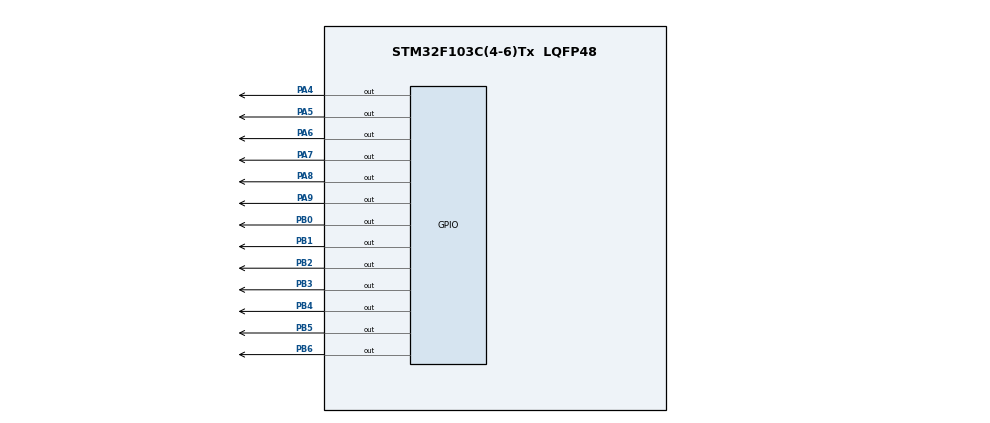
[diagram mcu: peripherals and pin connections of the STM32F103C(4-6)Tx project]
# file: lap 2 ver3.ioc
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Mcu.Family=STM32F1
Mcu.Name=STM32F103C(4-6)Tx
Mcu.Package=LQFP48
NVIC.PriorityGroup=NVIC_PRIORITYGROUP_4
NVIC.TIM2_IRQn=true\:0\:0\:false\:false\:true\:true\:true
PA4.Signal=GPIO_Output
PA5.Signal=GPIO_Output
PA6.Signal=GPIO_Output
PA7.Signal=GPIO_Output
PA8.Signal=GPIO_Output
PA9.Signal=GPIO_Output
PB0.Signal=GPIO_Output
PB1.Signal=GPIO_Output
PB2.Signal=GPIO_Output
PB3.Signal=GPIO_Output
PB4.Signal=GPIO_Output
PB5.Signal=GPIO_Output
PB6.Signal=GPIO_Output
ProjectManager.HeapSize=0x200
ProjectManager.StackSize=0x400
ProjectManager.TargetToolchain=STM32CubeIDE
RCC.APB1Freq_Value=8000000
RCC.APB2Freq_Value=8000000
TIM2.Period=0
TIM2.Prescaler=7999
VP_SYS_VS_ND.Mode=No_Debug
VP_TIM2_VS_ClockSourceINT.Mode=Internal
board=custom

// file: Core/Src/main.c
/* USER CODE BEGIN Header */
/**
  ******************************************************************************
  * @file           : main.c
  * @brief          : Main program body
  ******************************************************************************
  * @attention
  *
  * <h2><center>&copy; Copyright (c) 2021 STMicroelectronics.
  * All rights reserved.</center></h2>
  *
  * This software component is licensed by ST under BSD 3-Clause license,
  * the "License"; You may not use this file except in compliance with the
  * License. You may obtain a copy of the License at:
  *                        opensource.org/licenses/BSD-3-Clause
  *
  ******************************************************************************
  */
/* USER CODE END Header */
#include "main.h"

TIM_HandleTypeDef htim2;

void SystemClock_Config(void);
static void MX_GPIO_Init(void);
static void MX_TIM2_Init(void);

/* USER CODE BEGIN 0 */
void display7SEG(int num){
	switch(num){
	case(0):
			HAL_GPIO_WritePin(GPIOB, GPIO_PIN_0, RESET);
			HAL_GPIO_WritePin(GPIOB, GPIO_PIN_1, RESET);
			HAL_GPIO_WritePin(GPIOB, GPIO_PIN_2, RESET);
			HAL_GPIO_WritePin(GPIOB, GPIO_PIN_3, RESET);
			HAL_GPIO_WritePin(GPIOB, GPIO_PIN_4, RESET);
			HAL_GPIO_WritePin(GPIOB, GPIO_PIN_5, RESET);
			HAL_GPIO_WritePin(GPIOB, GPIO_PIN_6, SET);
			break;
	case(1):
			HAL_GPIO_WritePin(GPIOB, GPIO_PIN_0, SET);
			HAL_GPIO_WritePin(GPIOB, GPIO_PIN_1, RESET);
			HAL_GPIO_WritePin(GPIOB, GPIO_PIN_2, RESET);
			HAL_GPIO_WritePin(GPIOB, GPIO_PIN_3, SET);
			HAL_GPIO_WritePin(GPIOB, GPIO_PIN_4, SET);
			HAL_GPIO_WritePin(GPIOB, GPIO_PIN_5, SET);
			HAL_GPIO_WritePin(GPIOB, GPIO_PIN_6, SET);
			break;
	case(2):
			HAL_GPIO_WritePin(GPIOB, GPIO_PIN_0, RESET);
			HAL_GPIO_WritePin(GPIOB, GPIO_PIN_1, RESET);
			HAL_GPIO_WritePin(GPIOB, GPIO_PIN_2, SET);
			HAL_GPIO_WritePin(GPIOB, GPIO_PIN_3, RESET);
			HAL_GPIO_WritePin(GPIOB, GPIO_PIN_4, RESET);
			HAL_GPIO_WritePin(GPIOB, GPIO_PIN_5, SET);
			HAL_GPIO_WritePin(GPIOB, GPIO_PIN_6, RESET);
			break;
	case(3):
			HAL_GPIO_WritePin(GPIOB, GPIO_PIN_0, RESET);
			HAL_GPIO_WritePin(GPIOB, GPIO_PIN_1, RESET);
			HAL_GPIO_WritePin(GPIOB, GPIO_PIN_2, RESET);
			HAL_GPIO_WritePin(GPIOB, GPIO_PIN_3, RESET);
			HAL_GPIO_WritePin(GPIOB, GPIO_PIN_4, SET);
			HAL_GPIO_WritePin(GPIOB, GPIO_PIN_5, SET);
			HAL_GPIO_WritePin(GPIOB, GPIO_PIN_6, RESET);
			break;
	case(4):
			HAL_GPIO_WritePin(GPIOB, GPIO_PIN_0, SET);
			HAL_GPIO_WritePin(GPIOB, GPIO_PIN_1, RESET);
			HAL_GPIO_WritePin(GPIOB, GPIO_PIN_2, RESET);
			HAL_GPIO_WritePin(GPIOB, GPIO_PIN_3, SET);
			HAL_GPIO_WritePin(GPIOB, GPIO_PIN_4, SET);
			HAL_GPIO_WritePin(GPIOB, GPIO_PIN_5, RESET);
			HAL_GPIO_WritePin(GPIOB, GPIO_PIN_6, RESET);
			break;
	case(5):
			HAL_GPIO_WritePin(GPIOB, GPIO_PIN_0, RESET);
			HAL_GPIO_WritePin(GPIOB, GPIO_PIN_1, SET);
			HAL_GPIO_WritePin(GPIOB, GPIO_PIN_2, RESET);
			HAL_GPIO_WritePin(GPIOB, GPIO_PIN_3, RESET);
			HAL_GPIO_WritePin(GPIOB, GPIO_PIN_4, SET);
			HAL_GPIO_WritePin(GPIOB, GPIO_PIN_5, RESET);
			HAL_GPIO_WritePin(GPIOB, GPIO_PIN_6, RESET);
			break;
	case(6):
			HAL_GPIO_WritePin(GPIOB, GPIO_PIN_0, RESET);
			HAL_GPIO_WritePin(GPIOB, GPIO_PIN_1, SET);
			HAL_GPIO_WritePin(GPIOB, GPIO_PIN_2, RESET);
			HAL_GPIO_WritePin(GPIOB, GPIO_PIN_3, RESET);
			HAL_GPIO_WritePin(GPIOB, GPIO_PIN_4, RESET);
			HAL_GPIO_WritePin(GPIOB, GPIO_PIN_5, RESET);
			HAL_GPIO_WritePin(GPIOB, GPIO_PIN_6, RESET);
			break;
	case(7):
			HAL_GPIO_WritePin(GPIOB, GPIO_PIN_0, RESET);
			HAL_GPIO_WritePin(GPIOB, GPIO_PIN_1, RESET);
			HAL_GPIO_WritePin(GPIOB, GPIO_PIN_2, RESET);
			HAL_GPIO_WritePin(GPIOB, GPIO_PIN_3, SET);
			HAL_GPIO_WritePin(GPIOB, GPIO_PIN_4, SET);
			HAL_GPIO_WritePin(GPIOB, GPIO_PIN_5, SET);
			HAL_GPIO_WritePin(GPIOB, GPIO_PIN_6, SET);
			break;
	case(8):
			HAL_GPIO_WritePin(GPIOB, GPIO_PIN_0, RESET);
			HAL_GPIO_WritePin(GPIOB, GPIO_PIN_1, RESET);
			HAL_GPIO_WritePin(GPIOB, GPIO_PIN_2, RESET);
			HAL_GPIO_WritePin(GPIOB, GPIO_PIN_3, RESET);
			HAL_GPIO_WritePin(GPIOB, GPIO_PIN_4, RESET);
			HAL_GPIO_WritePin(GPIOB, GPIO_PIN_5, RESET);
			HAL_GPIO_WritePin(GPIOB, GPIO_PIN_6, RESET);
			break;
	case(9):
			HAL_GPIO_WritePin(GPIOB, GPIO_PIN_0, RESET);
			HAL_GPIO_WritePin(GPIOB, GPIO_PIN_1, RESET);
			HAL_GPIO_WritePin(GPIOB, GPIO_PIN_2, RESET);
			HAL_GPIO_WritePin(GPIOB, GPIO_PIN_3, RESET);
			HAL_GPIO_WritePin(GPIOB, GPIO_PIN_4, SET);
			HAL_GPIO_WritePin(GPIOB, GPIO_PIN_5, RESET);
			HAL_GPIO_WritePin(GPIOB, GPIO_PIN_6, RESET);
			break;
	default:
			HAL_GPIO_WritePin(GPIOB, GPIO_PIN_0, SET);
			HAL_GPIO_WritePin(GPIOB, GPIO_PIN_1, SET);
			HAL_GPIO_WritePin(GPIOB, GPIO_PIN_2, SET);
			HAL_GPIO_WritePin(GPIOB, GPIO_PIN_3, SET);
			HAL_GPIO_WritePin(GPIOB, GPIO_PIN_4, SET);
			HAL_GPIO_WritePin(GPIOB, GPIO_PIN_5, SET);
			HAL_GPIO_WritePin(GPIOB, GPIO_PIN_6, SET);
			break;
	}
}
int led_buffer[4] = {1,2,3,0};
void update7SEG(int index){
	int value = led_buffer[index];
	display7SEG(10);	// blank

	switch(index){
	case(0):	// first 7SEG on
			HAL_GPIO_WritePin(GPIOA, GPIO_PIN_6, RESET);
			HAL_GPIO_WritePin(GPIOA, GPIO_PIN_7, SET);
			HAL_GPIO_WritePin(GPIOA, GPIO_PIN_8, SET);
			HAL_GPIO_WritePin(GPIOA, GPIO_PIN_9, SET);
			break;
	case(1):	// second 7SEG on
			HAL_GPIO_WritePin(GPIOA, GPIO_PIN_6, SET);
			HAL_GPIO_WritePin(GPIOA, GPIO_PIN_7, RESET);
			HAL_GPIO_WritePin(GPIOA, GPIO_PIN_8, SET);
			HAL_GPIO_WritePin(GPIOA, GPIO_PIN_9, SET);
			break;
	case(2):	// third 7SEG on
			HAL_GPIO_WritePin(GPIOA, GPIO_PIN_6, SET);
			HAL_GPIO_WritePin(GPIOA, GPIO_PIN_7, SET);
			HAL_GPIO_WritePin(GPIOA, GPIO_PIN_8, RESET);
			HAL_GPIO_WritePin(GPIOA, GPIO_PIN_9, SET);
			break;
	case(3):	// last 7SEG on
			HAL_GPIO_WritePin(GPIOA, GPIO_PIN_6, SET);
			HAL_GPIO_WritePin(GPIOA, GPIO_PIN_7, SET);
			HAL_GPIO_WritePin(GPIOA, GPIO_PIN_8, SET);
			HAL_GPIO_WritePin(GPIOA, GPIO_PIN_9, RESET);
			break;
	default:
			HAL_GPIO_WritePin(GPIOA, GPIO_PIN_6, SET);
			HAL_GPIO_WritePin(GPIOA, GPIO_PIN_7, SET);
			HAL_GPIO_WritePin(GPIOA, GPIO_PIN_8, SET);
			HAL_GPIO_WritePin(GPIOA, GPIO_PIN_9, SET);
			break;
	}

	display7SEG(value);
}

// set begin time
int hour = 15, minute = 8, second = 50;
void updateClockBuffer(){
	led_buffer[0] = hour/10;
	led_buffer[1] = hour%10;

	led_buffer[2] = minute/10;
	led_buffer[3] = minute%10;
}
/* USER CODE END 0 */

int main(void)
{

  /* MCU Configuration--------------------------------------------------------*/

  /* Reset of all peripherals, Initializes the Flash interface and the Systick. */
  HAL_Init();

  /* Configure the system clock */
  SystemClock_Config();

  /* Initialize all configured peripherals */
  MX_GPIO_Init();
  MX_TIM2_Init();
  /* USER CODE BEGIN 2 */
  HAL_TIM_Base_Start_IT(&htim2);
  /* USER CODE END 2 */

  /* Infinite loop */
  /* USER CODE BEGIN WHILE */
  while (1)
  {
	  second++;

	  if(second >= 30){	//60
		  second = 0;
		  minute++;
	  }
	  if(minute >= 30){	//60
		  minute = 0;
		  hour++;
	  }
	  if(hour >= 24){
		  hour = 0;
	  }

	  updateClockBuffer();
	  HAL_Delay(500);
    /* USER CODE END WHILE */

  }
}

void SystemClock_Config(void)
{
  RCC_OscInitTypeDef RCC_OscInitStruct = {0};
  RCC_ClkInitTypeDef RCC_ClkInitStruct = {0};

  /** Initializes the RCC Oscillators according to the specified parameters
  * in the RCC_OscInitTypeDef structure.
  */
  RCC_OscInitStruct.OscillatorType = RCC_OSCILLATORTYPE_HSI;
  RCC_OscInitStruct.HSIState = RCC_HSI_ON;
  RCC_OscInitStruct.HSICalibrationValue = RCC_HSICALIBRATION_DEFAULT;
  RCC_OscInitStruct.PLL.PLLState = RCC_PLL_NONE;
  if (HAL_RCC_OscConfig(&RCC_OscInitStruct) != HAL_OK)
  {
    Error_Handler();
  }
  /** Initializes the CPU, AHB and APB buses clocks
  */
  RCC_ClkInitStruct.ClockType = RCC_CLOCKTYPE_HCLK|RCC_CLOCKTYPE_SYSCLK
                              |RCC_CLOCKTYPE_PCLK1|RCC_CLOCKTYPE_PCLK2;
  RCC_ClkInitStruct.SYSCLKSource = RCC_SYSCLKSOURCE_HSI;
  RCC_ClkInitStruct.AHBCLKDivider = RCC_SYSCLK_DIV1;
  RCC_ClkInitStruct.APB1CLKDivider = RCC_HCLK_DIV1;
  RCC_ClkInitStruct.APB2CLKDivider = RCC_HCLK_DIV1;

  if (HAL_RCC_ClockConfig(&RCC_ClkInitStruct, FLASH_LATENCY_0) != HAL_OK)
  {
    Error_Handler();
  }
}

static void MX_TIM2_Init(void)
{

  TIM_ClockConfigTypeDef sClockSourceConfig = {0};
  TIM_MasterConfigTypeDef sMasterConfig = {0};

  htim2.Instance = TIM2;
  htim2.Init.Prescaler = 7999;
  htim2.Init.CounterMode = TIM_COUNTERMODE_UP;
  htim2.Init.Period = 9;
  htim2.Init.ClockDivision = TIM_CLOCKDIVISION_DIV1;
  htim2.Init.AutoReloadPreload = TIM_AUTORELOAD_PRELOAD_DISABLE;
  if (HAL_TIM_Base_Init(&htim2) != HAL_OK)
  {
    Error_Handler();
  }
  sClockSourceConfig.ClockSource = TIM_CLOCKSOURCE_INTERNAL;
  if (HAL_TIM_ConfigClockSource(&htim2, &sClockSourceConfig) != HAL_OK)
  {
    Error_Handler();
  }
  sMasterConfig.MasterOutputTrigger = TIM_TRGO_RESET;
  sMasterConfig.MasterSlaveMode = TIM_MASTERSLAVEMODE_DISABLE;
  if (HAL_TIMEx_MasterConfigSynchronization(&htim2, &sMasterConfig) != HAL_OK)
  {
    Error_Handler();
  }

}

static void MX_GPIO_Init(void)
{
  GPIO_InitTypeDef GPIO_InitStruct = {0};

  /* GPIO Ports Clock Enable */
  __HAL_RCC_GPIOA_CLK_ENABLE();
  __HAL_RCC_GPIOB_CLK_ENABLE();

  /*Configure GPIO pin Output Level */
  HAL_GPIO_WritePin(GPIOA, GPIO_PIN_4|GPIO_PIN_5|GPIO_PIN_6|GPIO_PIN_7
                          |GPIO_PIN_8|GPIO_PIN_9, GPIO_PIN_RESET);

  /*Configure GPIO pin Output Level */
  HAL_GPIO_WritePin(GPIOB, GPIO_PIN_0|GPIO_PIN_1|GPIO_PIN_2|GPIO_PIN_3
                          |GPIO_PIN_4|GPIO_PIN_5|GPIO_PIN_6, GPIO_PIN_RESET);

  /*Configure GPIO pins : PA4 PA5 PA6 PA7
                           PA8 PA9 */
  GPIO_InitStruct.Pin = GPIO_PIN_4|GPIO_PIN_5|GPIO_PIN_6|GPIO_PIN_7
                          |GPIO_PIN_8|GPIO_PIN_9;
  GPIO_InitStruct.Mode = GPIO_MODE_OUTPUT_PP;
  GPIO_InitStruct.Pull = GPIO_NOPULL;
  GPIO_InitStruct.Speed = GPIO_SPEED_FREQ_LOW;
  HAL_GPIO_Init(GPIOA, &GPIO_InitStruct);

  /*Configure GPIO pins : PB0 PB1 PB2 PB3
                           PB4 PB5 PB6 */
  GPIO_InitStruct.Pin = GPIO_PIN_0|GPIO_PIN_1|GPIO_PIN_2|GPIO_PIN_3
                          |GPIO_PIN_4|GPIO_PIN_5|GPIO_PIN_6;
  GPIO_InitStruct.Mode = GPIO_MODE_OUTPUT_PP;
  GPIO_InitStruct.Pull = GPIO_NOPULL;
  GPIO_InitStruct.Speed = GPIO_SPEED_FREQ_LOW;
  HAL_GPIO_Init(GPIOB, &GPIO_InitStruct);

}

/* USER CODE BEGIN 4 */
int single_led_counter = 0;
int counter = 0;
int index_led = 0;
const int MAX_LED = 4;
void HAL_TIM_PeriodElapsedCallback(TIM_HandleTypeDef * htim){
	if(counter >= 50){
		counter = 0;
		update7SEG(index_led++);

		if(index_led == MAX_LED) index_led = 0;
	}
	counter ++;

	if(single_led_counter >= 100){
		single_led_counter = 0;
		HAL_GPIO_TogglePin(GPIOA, GPIO_PIN_4);
	}
	single_led_counter++;
}
/* USER CODE END 4 */

void Error_Handler(void)
{
  __disable_irq();
  while (1)
  {
  }
}

/************************ (C) COPYRIGHT STMicroelectronics *****END OF FILE****/
